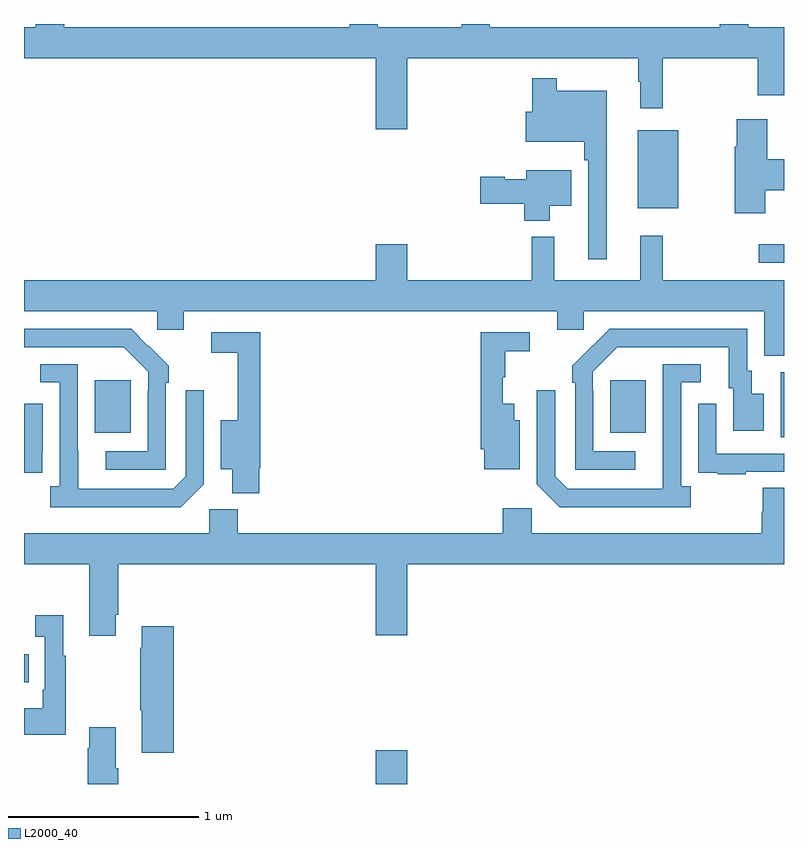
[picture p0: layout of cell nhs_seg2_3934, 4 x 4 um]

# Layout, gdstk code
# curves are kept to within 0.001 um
import gdstk
lib = gdstk.Library(unit=1e-6, precision=1e-09)
def R(c, l, rs):  # rectangles x0, y0, x1, y1
    for r in rs: c.add(gdstk.rectangle(r[:2], r[2:], *l))
def P(c, l, *ps):  # polygons
    for p in ps: c.add(gdstk.Polygon(p, *l))
L2000_40 = (2000, 40)

nhs_seg2_3934 = lib.new_cell('nhs_seg2_3934')
R(nhs_seg2_3934, L2000_40, [(320.852,659.8,321.016,659.977), (319,660.335,319.025,660.483), (322.982,661.624,323,661.968), (319.373,661.649,319.561,661.924), (322.085,661.649,322.273,661.924), (322.866,662.544,323,662.64), (322.229,662.831,322.444,663.241)])
P(nhs_seg2_3934, L2000_40, [(321.016,663.62),(322.233,663.62),(322.233,663.497),(322.244,663.497),(322.244,663.357),(322.361,663.357),(322.361,663.62),(322.862,663.62),(322.862,663.426),(323,663.426),(323,663.784),(322.813,663.784),(322.813,663.8),(322.661,663.8),(322.661,663.784),(321.45,663.784),(321.45,663.8),(321.304,663.8),(321.304,663.784),(320.862,663.784),(320.862,663.8),(320.714,663.8),(320.714,663.784),(319.212,663.784),(319.212,663.8),(319.061,663.8),(319.061,663.784),(319,663.784),(319,663.62),(320.852,663.62),(320.852,663.246),(321.016,663.246)],
  [(322.066,663.448),(321.805,663.448),(321.805,663.514),(321.676,663.514),(321.676,663.337),(321.642,663.337),(321.642,663.179),(321.949,663.179),(321.949,663.083),(321.969,663.083),(321.969,662.562),(322.066,662.562)],
  [(322.9,662.924),(323,662.924),(323,663.087),(322.912,663.087),(322.912,663.298),(322.75,663.298),(322.75,663.153),(322.742,663.153),(322.742,662.805),(322.9,662.805)],
  [(321.766,662.843),(321.88,662.843),(321.88,663.031),(321.644,663.031),(321.644,662.983),(321.531,662.983),(321.531,662.996),(321.402,662.996),(321.402,662.854),(321.632,662.854),(321.632,662.765),(321.766,662.765)],
  [(323,662.452),(322.361,662.452),(322.361,662.686),(322.244,662.686),(322.244,662.452),(321.791,662.452),(321.791,662.68),(321.673,662.68),(321.673,662.452),(321.016,662.452),(321.016,662.641),(320.852,662.641),(320.852,662.452),(319,662.452),(319,662.288),(319.701,662.288),(319.701,662.19),(319.84,662.19),(319.84,662.288),(321.806,662.288),(321.806,662.19),(321.945,662.19),(321.945,662.288),(322.895,662.288),(322.895,662.053),(323,662.053)],
  [(322.216,661.551),(321.996,661.551),(321.996,661.871),(321.993,661.871),(321.993,661.971),(322.122,662.1),(322.709,662.1),(322.709,661.884),(322.733,661.884),(322.733,661.659),(322.894,661.659),(322.894,661.855),(322.831,661.855),(322.831,661.974),(322.806,661.974),(322.806,662.196),(322.082,662.196),(321.885,662.001),(321.885,661.913),(321.9,661.913),(321.9,661.455),(322.216,661.455)],
  [(319.746,661.913),(319.761,661.913),(319.761,662.001),(319.564,662.196),(319,662.196),(319,662.1),(319.525,662.1),(319.653,661.971),(319.653,661.871),(319.65,661.871),(319.65,661.551),(319.431,661.551),(319.431,661.455),(319.746,661.455)],
  [(321.61,661.714),(321.58,661.714),(321.58,661.801),(321.521,661.801),(321.521,661.941),(321.532,661.941),(321.532,662.077),(321.661,662.077),(321.661,662.178),(321.403,662.178),(321.403,661.561),(321.422,661.561),(321.422,661.457),(321.61,661.457)],
  [(320.237,661.461),(320.243,661.461),(320.243,662.178),(319.986,662.178),(319.986,662.07),(320.126,662.07),(320.126,661.714),(320.036,661.714),(320.036,661.457),(320.096,661.457),(320.096,661.331),(320.237,661.331)],
  [(319.947,661.377),(319.947,661.873),(319.851,661.873),(319.851,661.419),(319.785,661.353),(319.285,661.353),(319.284,662.01),(319.086,662.01),(319.086,661.914),(319.188,661.914),(319.188,661.366),(319.137,661.366),(319.137,661.256),(319.826,661.256)],
  [(322.51,661.366),(322.458,661.366),(322.458,661.914),(322.561,661.914),(322.561,662.01),(322.362,662.01),(322.361,661.353),(321.861,661.353),(321.795,661.419),(321.795,661.873),(321.699,661.873),(321.699,661.377),(321.82,661.256),(322.51,661.256)],
  [(322.799,661.443),(323,661.443),(323,661.539),(322.644,661.539),(322.644,661.801),(322.548,661.801),(322.548,661.546),(322.549,661.546),(322.549,661.437),(322.651,661.437),(322.651,661.431),(322.799,661.431)],
  [(319.097,661.546),(319.098,661.546),(319.098,661.801),(319.002,661.801),(319.002,661.539),(319,661.539),(319,661.437),(319.097,661.437)],
  [(320.126,661.246),(319.974,661.246),(319.974,661.12),(319,661.12),(319,660.956),(319.343,660.956),(319.343,660.579),(319.483,660.579),(319.483,660.691),(319.496,660.691),(319.496,660.956),(320.852,660.956),(320.852,660.582),(321.016,660.582),(321.016,660.956),(323,660.956),(323,661.358),(322.888,661.358),(322.888,661.233),(322.883,661.233),(322.883,661.12),(321.672,661.12),(321.672,661.252),(321.521,661.252),(321.521,661.12),(320.126,661.12)],
  [(319.219,660.475),(319.207,660.475),(319.207,660.688),(319.059,660.688),(319.059,660.575),(319.11,660.575),(319.11,660.295),(319.098,660.295),(319.098,660.199),(319,660.199),(319,660.059),(319.219,660.059)],
  [(319.787,660.631),(319.619,660.631),(319.619,660.518),(319.612,660.518),(319.612,660.187),(319.619,660.187),(319.619,659.964),(319.787,659.964)],
  [(319.496,659.884),(319.483,659.884),(319.483,660.1),(319.343,660.1),(319.343,659.987),(319.336,659.987),(319.336,659.8),(319.496,659.8)])

lib.write_gds('nhs_seg2_3934.gds')
